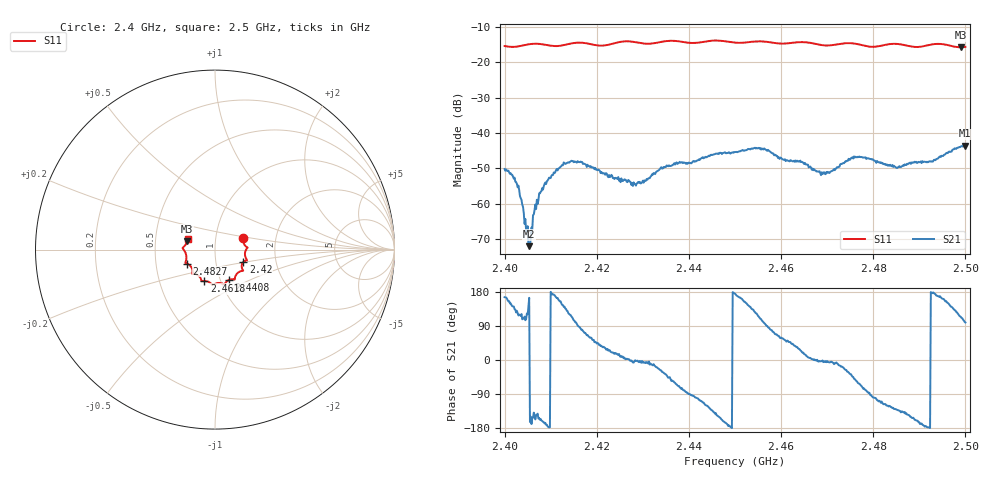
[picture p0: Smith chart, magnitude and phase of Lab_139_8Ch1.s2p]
# Hz S RI R 50
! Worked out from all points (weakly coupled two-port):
!   601 points, 2.4 GHz to 2.5 GHz, reference 50 ohm
!   highest |S21| = -43.61 dB at 2.4998 GHz (marker M1); lowest = -71.9 dB at 2.4053 GHz (marker M2)
!   lowest |S11| = -15.8 dB at 2.499 GHz (marker M3), VSWR 1.39, Z = 36.5 + j3.54 ohm
!   |S11| at or under -10 dB: start of sweep to end of sweep
!   S12 and S22 are empty: the file has one direction only
!   S11 on the Smith chart (normalised r, x): 2.4 GHz: 1.36, +0.17; 2.42 GHz: 1.36, -0.19; 2.4408 GHz: 1.10, -0.38; 2.4618 GHz: 0.84, -0.30; 2.4827 GHz: 0.72, -0.12; 2.5 GHz: 0.73, +0.09
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2.4e9  0.1563 0.0624  -0.003 0.000761  0 0  0 0
2.402667e9  0.1628 0.0299  -0.00122 0.00147  0 0  0 0
2.405333e9  0.1781 0.0131  -0.000243 6.96e-05  0 0  0 0
2.407e9  0.181 0.0108  -0.000935 -0.00066  0 0  0 0
2.409167e9  0.1741 0.00123  -0.00206 -0.000327  0 0  0 0
2.413e9  0.1696 -0.0411  -0.0029 0.00237  0 0  0 0
2.416667e9  0.1781 -0.0595  0.000689 0.00382  0 0  0 0
2.42e9  0.1579 -0.0692  0.00221 0.0021  0 0  0 0
2.428e9  0.1522 -0.1183  0.002 -0.000237  0 0  0 0
2.433333e9  0.1121 -0.1522  0.00272 -0.00112  0 0  0 0
2.440833e9  0.0788 -0.1686  -0.000322 -0.00394  0 0  0 0
2.45e9  0.0279 -0.186  -0.00536 0.000482  0 0  0 0
2.456e9  -0.0145 -0.195  -0.00124 0.00577  0 0  0 0
2.461833e9  -0.0601 -0.1751  0.00269 0.00293  0 0  0 0
2.466667e9  -0.0769 -0.1684  0.00303 0.000114  0 0  0 0
2.47e9  -0.095 -0.1427  0.00274 -0.00013  0 0  0 0
2.476333e9  -0.1259 -0.1292  0.00259 -0.00375  0 0  0 0
2.482667e9  -0.1572 -0.0778  -0.00163 -0.00326  0 0  0 0
2.483333e9  -0.1614 -0.0764  -0.0019 -0.00298  0 0  0 0
2.499e9  -0.1545 0.0473  -0.00261 0.00588  0 0  0 0
2.499833e9  -0.1521 0.0593  -0.0012 0.00649  0 0  0 0
2.5e9  -0.1518 0.0616  -0.00102 0.00636  0 0  0 0
